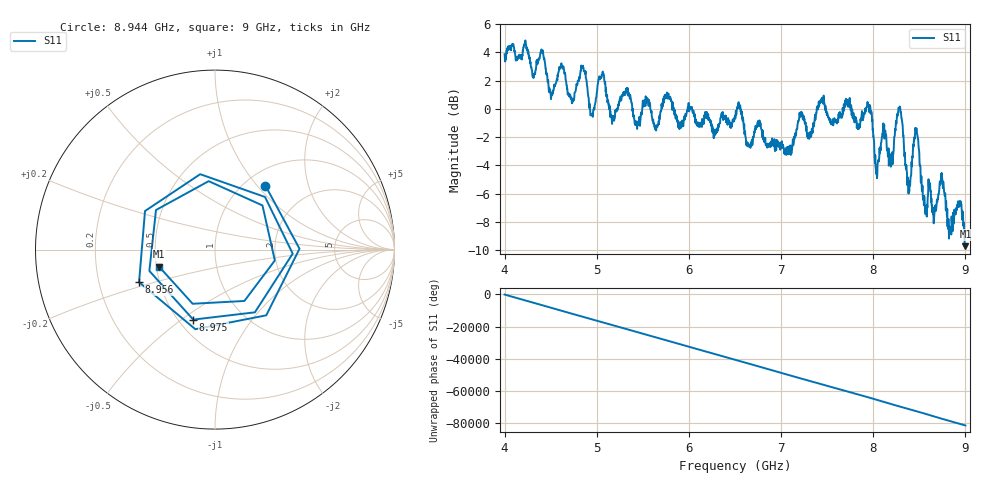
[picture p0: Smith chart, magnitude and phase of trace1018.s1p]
! Created with skrf 1.8.0 (http://scikit-rf.org).
# Hz S RI R 50.0
!freq ReS11 ImS11
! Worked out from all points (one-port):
!   1601 points, 4 GHz to 9 GHz, reference 50 ohm
!   lowest |S11| = -9.7 dB at 9 GHz (marker M1), VSWR 1.97, Z = 25.8 - j5.45 ohm
!   |S11| at or under -10 dB: nowhere
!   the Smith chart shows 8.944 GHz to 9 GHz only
!   S11 on the Smith chart (normalised r, x): 8.944 GHz: 1.23, +1.11; 8.956 GHz: 0.38, -0.18; 8.975 GHz: 0.59, -0.55; 9 GHz: 0.52, -0.11
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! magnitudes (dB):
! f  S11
! 4 GHz  3.9
! 4.409 GHz  4.1
! 4.506 GHz  0.8
! 4.625 GHz  3.0
! 4.731 GHz  0.4
! 4.853 GHz  2.9
! 4.95 GHz  -0.3
! 5.053 GHz  2.4
! 5.169 GHz  -0.6
! 5.25 GHz  0.7
! 5.875 GHz  -0.9
! 6.5 GHz  -0.5
! 7.125 GHz  -2.5
! 7.441 GHz  0.8
! 7.75 GHz  0.2
! 7.959 GHz  -0.3
! 8.041 GHz  -4.9
! 8.116 GHz  -1.4
! 8.194 GHz  -4.0
! 8.288 GHz  0.2
! 8.375 GHz  -5.0
! 8.466 GHz  -1.4
! 8.562 GHz  -7.1
! 8.741 GHz  -4.9
! 8.944 GHz  -6.9
! 8.956 GHz  -6.7
! 8.975 GHz  -7.8
! 9 GHz  -9.7
